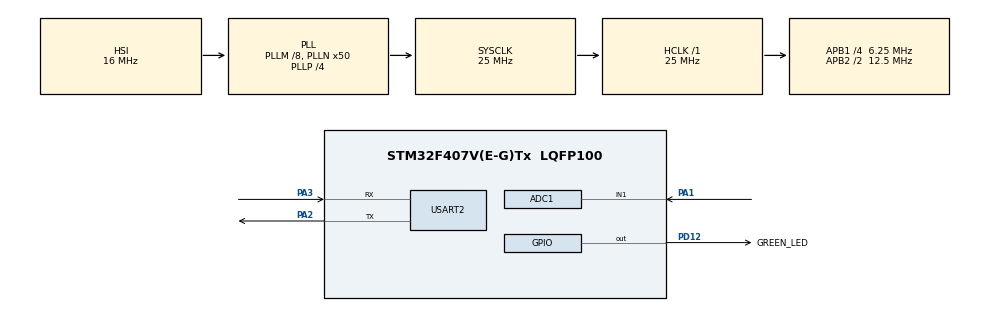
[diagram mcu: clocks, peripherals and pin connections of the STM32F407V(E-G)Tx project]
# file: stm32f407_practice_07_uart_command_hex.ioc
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ADC1.Channel-0\#ChannelRegularConversion=ADC_CHANNEL_1
ADC1.NbrOfConversionFlag=1
ADC1.Rank-0\#ChannelRegularConversion=1
ADC1.SamplingTime-0\#ChannelRegularConversion=ADC_SAMPLETIME_3CYCLES
ADC1.master=1
Mcu.Family=STM32F4
Mcu.Name=STM32F407V(E-G)Tx
Mcu.Package=LQFP100
NVIC.PriorityGroup=NVIC_PRIORITYGROUP_0
NVIC.USART2_IRQn=true\:0\:0\:false\:false\:true\:true\:true\:true
PA1.Signal=ADCx_IN1
PA2.Mode=Asynchronous
PA2.Signal=USART2_TX
PA3.Mode=Asynchronous
PA3.Signal=USART2_RX
PD12.GPIO_Label=GREEN_LED
PD12.Signal=GPIO_Output
ProjectManager.HeapSize=0x200
ProjectManager.StackSize=0x400
ProjectManager.TargetToolchain=STM32CubeIDE
RCC.48MHZClocksFreq_Value=14285714.285714285
RCC.AHBFreq_Value=25000000
RCC.APB1CLKDivider=RCC_HCLK_DIV4
RCC.APB1Freq_Value=6250000
RCC.APB1TimFreq_Value=12500000
RCC.APB2CLKDivider=RCC_HCLK_DIV2
RCC.APB2Freq_Value=12500000
RCC.APB2TimFreq_Value=25000000
RCC.CortexFreq_Value=25000000
RCC.HCLKFreq_Value=25000000
RCC.HSE_VALUE=8000000
RCC.HSI_VALUE=16000000
RCC.LSE_VALUE=32768
RCC.PLLM=8
RCC.PLLN=50
RCC.PLLP=RCC_PLLP_DIV4
RCC.PLLQ=7
RCC.SYSCLKFreq_VALUE=25000000
RCC.SYSCLKSource=RCC_SYSCLKSOURCE_PLLCLK
RCC.VCOOutputFreq_Value=100000000
SH.ADCx_IN1.0=ADC1_IN1,IN1
USART2.VirtualMode=VM_ASYNC
board=STM32F407G-DISC1

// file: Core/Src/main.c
/* USER CODE BEGIN Header */
/**
  ******************************************************************************
  * @file           : main.c
  * @brief          : Main program body
  ******************************************************************************
  * @attention
  *
  * Copyright (c) 2026 STMicroelectronics.
  * All rights reserved.
  *
  * This software is licensed under terms that can be found in the LICENSE file
  * in the root directory of this software component.
  * If no LICENSE file comes with this software, it is provided AS-IS.
  *
  ******************************************************************************
  */
/* USER CODE END Header */
#include "main.h"
#include "adc.h"
#include "usart.h"
#include "gpio.h"

/* USER CODE BEGIN Includes */

#include <stdio.h>
#include <string.h>
#include <stdbool.h>

/* USER CODE END Includes */

/* USER CODE BEGIN PTD */

typedef enum CommandMode_e
{
	COMMAND_WAIT,
	COMMAND_PING,
	COMMAND_SET_LED,
	COMMAND_GET_LED,
	COMMAND_GET_ADC,
	COMMAND_COUNT
}CommandMode_t;

typedef enum WorkState_e
{
	PARSER_WAIT_START,
	PARSER_READ_PACKET,
	PARSER_BUILD_PACKET,
	PARSER_APPLICATION,
	PARSER_ERROR
}WorkState_t;

typedef enum ErrorState_e
{
	ERROR_NO							= 0x00,
	ERROR_RX_OVERFLOW					= 0xA1,
	ERROR_RX_START_BYTE_NOT_FOUND		= 0xA2,
	ERROR_RX_INVALID_COMMAND			= 0xA3,
	ERROR_RX_PAYLOAD_LENGTH_OVERFLOW	= 0xA4,
	ERROR_RX_PACKET_OVERFLOW			= 0xA5,
	ERROR_RX_PACKET_UNDERFLOW			= 0xA6,
	ERROR_RX_CHECKSUM					= 0xA7,
	ERROR_COMMAND_INVALID_LENGTH		= 0xB1,
	ERROR_COMMAND_INVALID_PAYLOAD		= 0xB2,
	ERROR_EXEC_VERIFICATION_FAILED		= 0xC1,
	ERROR_EXEC_READ_ADC_FAILED			= 0xC2
}ErrorState_t;

/* USER CODE END PTD */

/* USER CODE BEGIN PD */

#define RX_PACKET_SIZE 			8U
#define RX_PACKET_TIMEOUT_TIME	5000U
#define PAYLOAD_SIZE 			3U
#define RESPONSE_MSG_SIZE		10U
#define ADC_READ_COUNT			10U
#define ADC_READ_MIN_COUNT		3U

/* USER CODE END PD */

/* USER CODE BEGIN PV */

static CommandMode_t 	command_state = COMMAND_WAIT;
static WorkState_t 		parser_state = PARSER_WAIT_START;
static ErrorState_t 	error_state = ERROR_NO;

static uint8_t rx_byte = 0U;
static volatile bool rx_byte_ready = false;

static uint8_t rx_packet[RX_PACKET_SIZE];
static uint8_t rx_command = 0U;
static uint8_t rx_length = 0U;
static uint8_t rx_payload[PAYLOAD_SIZE];

static uint8_t command_payload_length = 0U;
static uint8_t command_payload_min[PAYLOAD_SIZE];
static uint8_t command_payload_max[PAYLOAD_SIZE];
static uint8_t command_value[PAYLOAD_SIZE];

static uint8_t response_msg[RESPONSE_MSG_SIZE];
static uint8_t command_response_length = 0U;

static uint8_t available_commands_size = COMMAND_COUNT;

/* USER CODE END PV */

void SystemClock_Config(void);
/* USER CODE BEGIN PFP */

void ResetProtocolState(void);

/* USER CODE END PFP */

/* USER CODE BEGIN 0 */

uint8_t CalculateChecksum(uint8_t packet[], uint8_t length)
{
	uint8_t sum = 0x00U;

	for (uint8_t i = 1; i < length; i++)
	{
		sum ^= packet[i];
	}
	return sum;
}

bool ADCReadAverage(void)
{
	uint32_t sum = 0U;
	uint8_t count = 0U;

	for(uint8_t i = 0; i < ADC_READ_COUNT; i++)
	{
		HAL_ADC_Start(&hadc1);

		if(HAL_ADC_PollForConversion(&hadc1, 10) == HAL_OK)
		{
			sum += HAL_ADC_GetValue(&hadc1);
			count++;
		}

		HAL_ADC_Stop(&hadc1);
	}

	if (count >= ADC_READ_MIN_COUNT)
	{
		uint16_t raw = (uint16_t)(sum/((uint32_t)count));
		command_value[0] = (uint8_t)(raw >> 8);
		command_value[1] = (uint8_t)(raw);
		return true;
	}

	else
	{
		return false;
	}
}
uint8_t PacketBuilder(void)
{
	uint32_t start_time;
	uint8_t packet_index = 0U;
	bool packet_start = false;

	while(packet_start == false)
	{
		if (rx_byte_ready)
		{
			if(rx_byte == 0xAA)
			{
				rx_packet[packet_index] = rx_byte;
				packet_index++;
				packet_start = true;
				rx_byte_ready = false;
				start_time = HAL_GetTick();

				parser_state = PARSER_READ_PACKET;
			}

			if(HAL_UART_Receive_IT(&huart2, &rx_byte, 1U) != HAL_OK)
			{
				Error_Handler();
			}
		}
	}

	while((HAL_GetTick() - start_time) <= RX_PACKET_TIMEOUT_TIME)
	{
		if(rx_byte_ready)
		{
			if (packet_index < RX_PACKET_SIZE)
			{
				start_time = HAL_GetTick();
				rx_packet[packet_index] = rx_byte;
				packet_index++;
			}
			else
			{
				/* RX packet overflow error. */
				parser_state = PARSER_ERROR;
				error_state = ERROR_RX_OVERFLOW;
			}

			rx_byte_ready = false;
			if(HAL_UART_Receive_IT(&huart2, &rx_byte, 1U) != HAL_OK)
			{
				Error_Handler();
			}
		}
	}
	return packet_index;
}

void WaitPacket(void)
{

}

void ParserPipeline(uint8_t packet_length)
{
	uint8_t packet_index = 0U;
	uint8_t rx_checksum = 0U;

	if (rx_packet[packet_index] == 0xAA)
	{
		packet_index++;
		parser_state = PARSER_BUILD_PACKET;
	}
	else
	{
		/* Start byte found error. */
		parser_state = PARSER_ERROR;
		error_state = ERROR_RX_START_BYTE_NOT_FOUND;
	}

	if(error_state == ERROR_NO)
	{
		if (rx_packet[packet_index] == COMMAND_WAIT)
		{
			rx_command = rx_packet[packet_index];
			parser_state = PARSER_ERROR;
			error_state = ERROR_RX_INVALID_COMMAND;
		}
		else if (rx_packet[packet_index] < available_commands_size)
		{
			command_state = rx_packet[packet_index];
			rx_command = rx_packet[packet_index];
		}
		else
		{
			rx_command = rx_packet[packet_index];
			parser_state = PARSER_ERROR;
			error_state = ERROR_RX_INVALID_COMMAND;
		}

		packet_index++;

		if(error_state == ERROR_NO)
		{
			if(rx_packet[packet_index] > PAYLOAD_SIZE)
			{
				parser_state = PARSER_ERROR;
				error_state = ERROR_RX_PAYLOAD_LENGTH_OVERFLOW;
			}
			else
			{
				rx_length = rx_packet[packet_index];
			}

			packet_index++;

			if(error_state == ERROR_NO)
			{
				for(uint8_t i = 0; i < rx_length; i++)
				{
					rx_payload[i] = rx_packet[packet_index];
					packet_index++;
				}

				if(packet_length == packet_index + 1)
				{
					rx_checksum = CalculateChecksum(rx_packet, packet_index);

					if (rx_packet[packet_index] != rx_checksum)
					{
						parser_state = PARSER_ERROR;
						error_state = ERROR_RX_CHECKSUM;
					}

				}
				else if(packet_length > packet_index + 1)
				{
					/* Packet length overflow  */
					parser_state = PARSER_ERROR;
					error_state = ERROR_RX_PACKET_OVERFLOW;
				}
				else
				{
					/* Packet length underflow  */
					parser_state = PARSER_ERROR;
					error_state = ERROR_RX_PACKET_UNDERFLOW;
				}

			}
		}
	}
}

bool CommandDetailsCheck(void)
{
	bool is_pass = false;

	if (command_payload_length == rx_length)
	{
		is_pass = true;

		for(uint8_t i = 0U; i < rx_length; i++)
		{
			if(is_pass)
			{
				if(command_payload_min[i] > rx_payload[i] || command_payload_max[i] < rx_payload[i])
				{
					is_pass = false;
				}
			}
		}
		if(is_pass == false)
		{
			parser_state = PARSER_ERROR;
			error_state = ERROR_COMMAND_INVALID_PAYLOAD;
		}
	}
	else
	{
		parser_state = PARSER_ERROR;
		error_state = ERROR_COMMAND_INVALID_LENGTH;
	}
	return is_pass;
}

void WorkflowManager(void)
{
	bool is_pass = false;

	switch(command_state)
	{
	case COMMAND_PING:
		command_payload_length = 0x00U;
		is_pass = CommandDetailsCheck();
		if (is_pass)
		{
			command_response_length = 0x01U;
			command_value[0] = 0x01U;
		}
		else
		{
			command_response_length = 0x00U;
		}
		break;

	case COMMAND_SET_LED:
		command_payload_length = 0x01U;
		command_payload_max[0] = 0x01U;
		command_payload_min[0] = 0x00U;
		is_pass = CommandDetailsCheck();
		if(is_pass)
		{
			HAL_GPIO_WritePin(GREEN_LED_GPIO_Port, GREEN_LED_Pin, rx_payload[0]);
			if(HAL_GPIO_ReadPin(GREEN_LED_GPIO_Port, GREEN_LED_Pin) == rx_payload[0])
			{
				command_response_length = 0x01U;
				command_value[0] = rx_payload[0];
			}
			else
			{
				command_response_length = 0x00U;
				parser_state = PARSER_ERROR;
				error_state = ERROR_EXEC_VERIFICATION_FAILED;
			}
		}
		else
		{
			command_response_length = 0x00U;
		}
		break;

	case COMMAND_GET_LED:
		command_payload_length = 0x00U;
		is_pass = CommandDetailsCheck();
		if (is_pass)
		{
			command_response_length = 0x01U;
			command_value[0] = HAL_GPIO_ReadPin(GREEN_LED_GPIO_Port, GREEN_LED_Pin);
		}
		else
		{
			command_response_length = 0x00U;
		}
		break;

	case COMMAND_GET_ADC:
		command_payload_length = 0x00U;
		is_pass = CommandDetailsCheck();
		if(is_pass)
		{
			is_pass = ADCReadAverage();
			if(is_pass == false)
			{
				command_response_length = 0x00U;
				parser_state = PARSER_ERROR;
				error_state = ERROR_EXEC_READ_ADC_FAILED;
			}
			else
			{
				command_response_length = 0x02U;
			}
		}
		else
		{
			command_response_length = 0x00U;
		}
		break;

	default:
		break;

	}
}

void SendMsgBuilder(void)
{
	uint8_t start_byte = 0xAAU;
	uint8_t msg_index = 0U;
	uint8_t checksum = 0U;

	response_msg[msg_index] = start_byte;
	msg_index++;

	response_msg[msg_index] = rx_command;
	msg_index++;

	response_msg[msg_index] = error_state;
	msg_index++;

	if(error_state != ERROR_NO)
	{
		command_response_length = 0x00U;
	}

	response_msg[msg_index] = command_response_length;
	msg_index++;

	for(uint8_t i = 0U; i < command_response_length; i++)
	{
		response_msg[msg_index] = command_value[i];
		msg_index++;
	}

	checksum = CalculateChecksum(response_msg, msg_index);

	response_msg[msg_index] = checksum;
	msg_index++;

	HAL_UART_Transmit(&huart2, (uint8_t* )response_msg, msg_index, HAL_MAX_DELAY);
}

void ResetProtocolState(void)
{
	rx_command = 0U;

	error_state = ERROR_NO;
	command_state = COMMAND_WAIT;
	parser_state = PARSER_WAIT_START;
	for(uint8_t i = 0; i < RESPONSE_MSG_SIZE; i++)
	{
		response_msg[i] = 0U;
	}

	rx_length = 0U;

	command_payload_length = 0U;

	command_response_length = 0U;

	for(uint8_t i = 0; i < PAYLOAD_SIZE; i++)
	{
		rx_payload[i] = 0U;
		command_payload_max[i] = 0U;
		command_payload_min[i] = 0U;
		command_value[i] = 0U;
	}

	for (uint8_t i = 0; i < RX_PACKET_SIZE; i++)
	{
		rx_packet[i] = 0x00U;
	}

}

/* USER CODE END 0 */

int main(void)
{

  /* MCU Configuration--------------------------------------------------------*/

  /* Reset of all peripherals, Initializes the Flash interface and the Systick. */
  HAL_Init();

  /* Configure the system clock */
  SystemClock_Config();

  /* Initialize all configured peripherals */
  MX_GPIO_Init();
  MX_ADC1_Init();
  MX_USART2_UART_Init();
  /* USER CODE BEGIN 2 */

  if(HAL_UART_Receive_IT(&huart2, &rx_byte, 1U) != HAL_OK)
  {
	  Error_Handler();
  }
  ResetProtocolState();

  /* USER CODE END 2 */

  /* Infinite loop */
  /* USER CODE BEGIN WHILE */
  while (1)
  {
	  uint8_t rx_packet_length = PacketBuilder();

	  if(error_state == ERROR_NO)
	  {
		  ParserPipeline(rx_packet_length);
		  if(error_state == ERROR_NO)
		  {
			  WorkflowManager();
		  }
	  }
	  SendMsgBuilder();

	  ResetProtocolState();
    /* USER CODE END WHILE */

  }
}

void SystemClock_Config(void)
{
  RCC_OscInitTypeDef RCC_OscInitStruct = {0};
  RCC_ClkInitTypeDef RCC_ClkInitStruct = {0};

  /** Configure the main internal regulator output voltage
  */
  __HAL_RCC_PWR_CLK_ENABLE();
  __HAL_PWR_VOLTAGESCALING_CONFIG(PWR_REGULATOR_VOLTAGE_SCALE1);

  /** Initializes the RCC Oscillators according to the specified parameters
  * in the RCC_OscInitTypeDef structure.
  */
  RCC_OscInitStruct.OscillatorType = RCC_OSCILLATORTYPE_HSI;
  RCC_OscInitStruct.HSIState = RCC_HSI_ON;
  RCC_OscInitStruct.HSICalibrationValue = RCC_HSICALIBRATION_DEFAULT;
  RCC_OscInitStruct.PLL.PLLState = RCC_PLL_ON;
  RCC_OscInitStruct.PLL.PLLSource = RCC_PLLSOURCE_HSI;
  RCC_OscInitStruct.PLL.PLLM = 8;
  RCC_OscInitStruct.PLL.PLLN = 50;
  RCC_OscInitStruct.PLL.PLLP = RCC_PLLP_DIV4;
  RCC_OscInitStruct.PLL.PLLQ = 7;
  if (HAL_RCC_OscConfig(&RCC_OscInitStruct) != HAL_OK)
  {
    Error_Handler();
  }

  /** Initializes the CPU, AHB and APB buses clocks
  */
  RCC_ClkInitStruct.ClockType = RCC_CLOCKTYPE_HCLK|RCC_CLOCKTYPE_SYSCLK
                              |RCC_CLOCKTYPE_PCLK1|RCC_CLOCKTYPE_PCLK2;
  RCC_ClkInitStruct.SYSCLKSource = RCC_SYSCLKSOURCE_PLLCLK;
  RCC_ClkInitStruct.AHBCLKDivider = RCC_SYSCLK_DIV1;
  RCC_ClkInitStruct.APB1CLKDivider = RCC_HCLK_DIV4;
  RCC_ClkInitStruct.APB2CLKDivider = RCC_HCLK_DIV2;

  if (HAL_RCC_ClockConfig(&RCC_ClkInitStruct, FLASH_LATENCY_0) != HAL_OK)
  {
    Error_Handler();
  }
}

/* USER CODE BEGIN 4 */

void HAL_UART_RxCpltCallback(UART_HandleTypeDef* huart)
{
	if(huart->Instance  == USART2)
	{
		rx_byte_ready = true;
	}
}

/* USER CODE END 4 */

void Error_Handler(void)
{
  __disable_irq();
  while (1)
  {
  }
}
